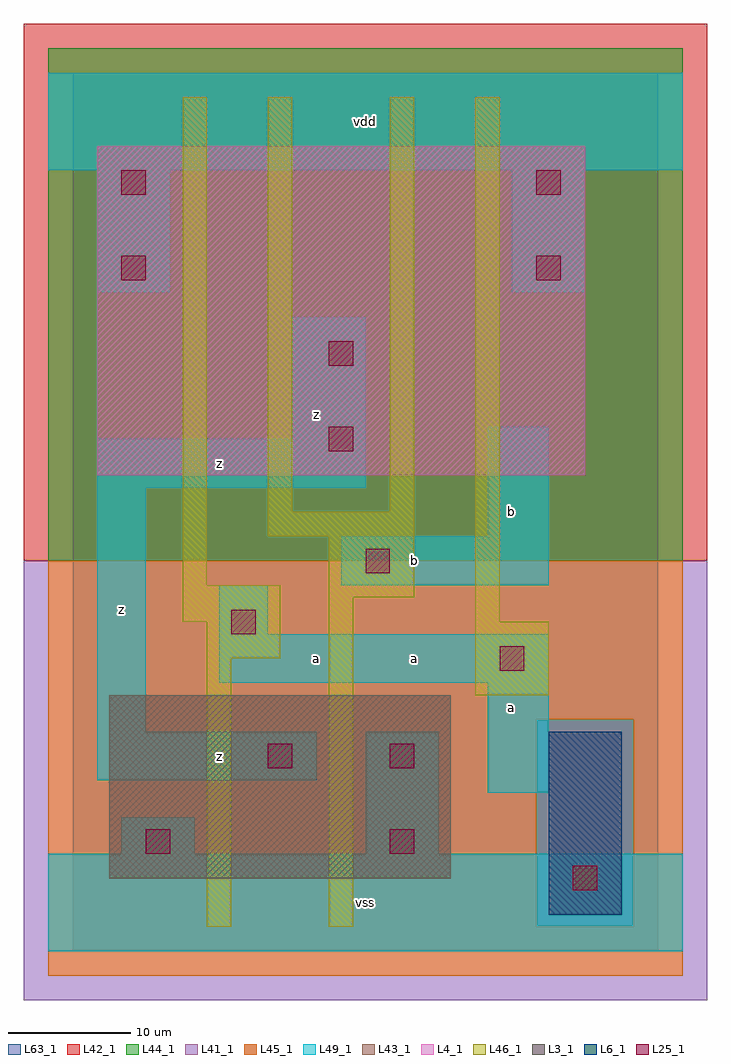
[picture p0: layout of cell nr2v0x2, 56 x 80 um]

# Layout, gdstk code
import gdstk
lib = gdstk.Library(unit=1e-6, precision=1e-09)
def R(c, l, rs):  # rectangles x0, y0, x1, y1
    for r in rs: c.add(gdstk.rectangle(r[:2], r[2:], *l))
L3_1 = (3, 1)
L4_1 = (4, 1)
L6_1 = (6, 1)
L25_1 = (25, 1)
L41_1 = (41, 1)
L42_1 = (42, 1)
L43_1 = (43, 1)
L44_1 = (44, 1)
L45_1 = (45, 1)
L46_1 = (46, 1)
L49_1 = (49, 1)
L63_1 = (63, 1)

nr2v0x2 = lib.new_cell('nr2v0x2')
R(nr2v0x2, L3_1, [(3,6,31,21)])
R(nr2v0x2, L4_1, [(2,39,42,66)])
R(nr2v0x2, L6_1, [(39,3,45,18), (39,3,45,18)])
R(nr2v0x2, L25_1, [(41,5,43,7), (6,8,8,10), (26,8,28,10), (16,15,18,17), (26,15,28,17), (35,23,37,25), (13,26,15,28), (24,31,26,33), (21,41,23,43), (21,48,23,50), (4,55,6,57), (38,55,40,57), (4,62,6,64), (38,62,40,64)])
R(nr2v0x2, L41_1, [(-4,-4,52,32)])
R(nr2v0x2, L42_1, [(-4,32,52,76)])
R(nr2v0x2, L43_1, [(39,3,45,18), (3,6,31,21), (2,39,42,66)])
R(nr2v0x2, L44_1, [(38,2,46,19), (-2,32,50,74)])
R(nr2v0x2, L45_1, [(-2,-2,50,2), (-2,2,38,19), (46,2,50,19), (-2,19,50,32)])
R(nr2v0x2, L46_1, [(11,2,13,24), (21,2,23,29), (33,21,39,27), (11,24,17,27), (9,27,17,30), (33,27,35,70), (21,29,28,34), (9,30,11,70), (16,34,28,36), (16,36,18,70), (26,36,28,70)])
R(nr2v0x2, L49_1, [(-2,0,50,8), (4,8,10,11), (24,8,30,18), (34,13,39,22), (2,14,20,18), (2,18,6,38), (12,22,39,26), (12,26,16,30), (22,30,39,34), (34,34,39,43), (2,38,24,42), (18,42,24,52), (2,54,8,64), (36,54,42,64), (-2,64,50,72)])
R(nr2v0x2, L63_1, [(0,0,48,72)])
nr2v0x2.add(gdstk.Label('z', (4,28), layer=49, texttype=1))
nr2v0x2.add(gdstk.Label('z', (12,16), layer=49, texttype=1))
nr2v0x2.add(gdstk.Label('a', (20,24), layer=49, texttype=1))
nr2v0x2.add(gdstk.Label('z', (12,40), layer=49, texttype=1))
nr2v0x2.add(gdstk.Label('z', (20,44), layer=49, texttype=1))
nr2v0x2.add(gdstk.Label('vss', (24,4), layer=49, texttype=1))
nr2v0x2.add(gdstk.Label('a', (28,24), layer=49, texttype=1))
nr2v0x2.add(gdstk.Label('b', (28,32), layer=49, texttype=1))
nr2v0x2.add(gdstk.Label('vdd', (24,68), layer=49, texttype=1))
nr2v0x2.add(gdstk.Label('a', (36,20), layer=49, texttype=1))
nr2v0x2.add(gdstk.Label('b', (36,36), layer=49, texttype=1))

lib.write_gds('nr2v0x2.gds')
